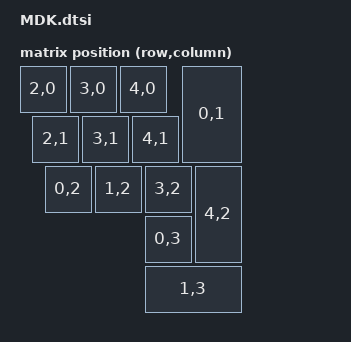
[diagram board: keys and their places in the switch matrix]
#include <dt-bindings/zmk/matrix_transform.h>
#include <physical_layouts.dtsi>
#include <behaviors/rgbled_widget.dtsi>

/ {
	chosen {
		zmk,physical-layout = &layout_MDK;
	};
   
	default_transform: keymap_transform_0 {
		compatible = "zmk,matrix-transform";
		columns = <5>;
		rows = <5>;
		
		map = <
	 	           RC( 2, 0)  RC( 3, 0)  RC( 4, 0)
		RC( 0, 1)  RC( 2, 1)  RC( 3, 1)  RC( 4, 1)
		RC( 0, 2)  RC( 1, 2)  RC( 3, 2)  RC( 4, 2)
		RC( 0, 3)  RC( 1, 3)
      >;
	};

	layout_MDK: layout_MDK {
		compatible = "zmk,physical-layout";
		display-name = "MDK";
		transform = <&default_transform>;
		kscan = <&kscan0>;
		
        keys  //                     w   h    x    y     rot    rx    ry
            = <&key_physical_attrs 100 100    0    0       0     0     0>
            , <&key_physical_attrs 100 100  100    0       0     0     0>
            , <&key_physical_attrs 100 100  200    0       0     0     0>
            , <&key_physical_attrs 125 200  325    0       0     0     0>
            , <&key_physical_attrs 100 100   25  100       0     0     0>
            , <&key_physical_attrs 100 100  125  100       0     0     0>
            , <&key_physical_attrs 100 100  225  100       0     0     0>
            , <&key_physical_attrs 100 100   50  200       0     0     0>
            , <&key_physical_attrs 100 100  150  200       0     0     0>
            , <&key_physical_attrs 100 100  250  200       0     0     0>
            , <&key_physical_attrs 100 200  350  200       0     0     0>
            , <&key_physical_attrs 100 100  250  300       0     0     0>
            , <&key_physical_attrs 200 100  250  400       0     0     0>
            ;
	};

    position_map {
        compatible = "zmk,physical-layout-position-map";

        layout_MDK {
            physical-layout = <&layout_MDK>;
            positions = <>;
        };
    };

   aliases {
      led-red = &led0;
      led-green = &led1;
      led-blue = &led2;
   };

   leds {
      compatible = "gpio-leds";
      status = "okay";
      led0: led_0 {
        gpios = <&gpio0 26 GPIO_ACTIVE_LOW>;  // red LED, connected to P0.26
      };
      led1: led_1 {
        gpios = <&gpio0 30 GPIO_ACTIVE_LOW>;  // green LED, connected to P0.30
      };
      led2: led_2 {
        gpios = <&gpio0 6 GPIO_ACTIVE_LOW>;  // blue LED, connected to P0.06
      };
   };
   
   // Encoders
   slot1_encoder: slot1_encoder {
      compatible = "alps,ec11";
      status = "disabled";
   };

   slot2_encoder: slot2_encoder {
      compatible = "alps,ec11";
      status = "disabled";
   };

   slot3_encoder: slot3_encoder {
      compatible = "alps,ec11";
      status = "disabled";
   };

   sensors: sensors {
      compatible = "zmk,keymap-sensors";
      sensors = <&slot1_encoder &slot2_encoder &slot3_encoder>;
   };
};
